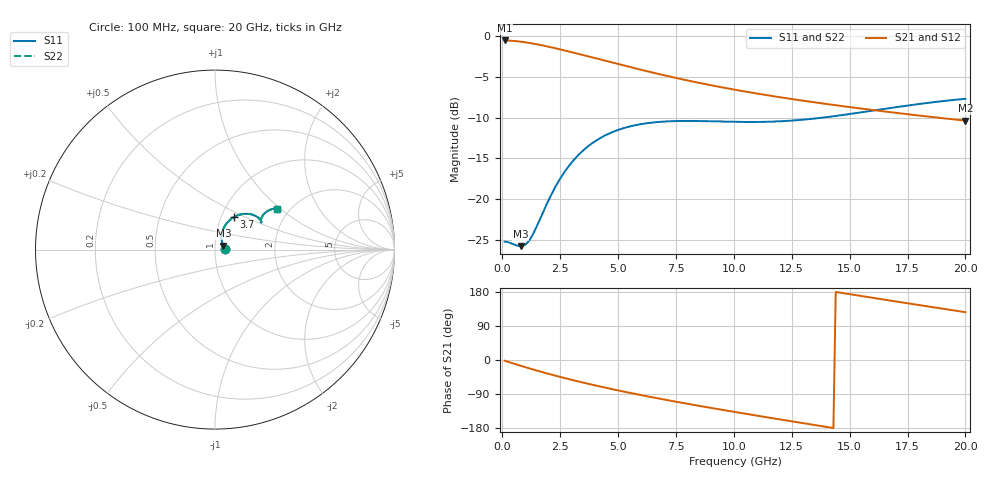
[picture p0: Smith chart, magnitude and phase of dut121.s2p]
! Created with skrf 1.9.0 (http://scikit-rf.org).
# GHz S RI R 50.0
!freq ReS11 ImS11 ReS21 ImS21 ReS12 ImS12 ReS22 ImS22
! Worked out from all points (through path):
!   200 points, 100 MHz to 20 GHz, reference 50 ohm
!   highest |S21| = -0.49 dB at 100 MHz (marker M1); lowest = -10.3 dB at 20 GHz (marker M2)
!   group delay of S21, straight-line fit = 30.8 ps
!   lowest |S11| = -25.8 dB at 800 MHz (marker M3), VSWR 1.11, Z = 54.8 + j2.39 ohm
!   |S11| at or under -10 dB: start of sweep to 13.78 GHz
!   |S22| runs from -25.8 to -7.7 dB; largest |S21 - S12| = 2.2e-15
!   S11 on the Smith chart (normalised r, x): 100 MHz: 1.12, +0.00; 3.7 GHz: 1.15, +0.44; 20 GHz: 1.72, +0.95
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0.1  0.0547 0.00106  0.9443 -0.031  0.9443 -0.031  0.0547 0.00106
0.4  0.0526 0.00889  0.9321 -0.1266  0.9321 -0.1266  0.0526 0.00889
0.8  0.0465 0.0218  0.8956 -0.2457  0.8956 -0.2457  0.0465 0.0218
1  0.043 0.0303  0.87 -0.3004  0.87 -0.3004  0.043 0.0303
1.3  0.0387 0.0457  0.8242 -0.3755  0.8242 -0.3755  0.0387 0.0457
1.7  0.0366 0.0704  0.7529 -0.4613  0.7529 -0.4613  0.0366 0.0704
2.1  0.0404 0.0974  0.6744 -0.531  0.6744 -0.531  0.0404 0.0974
2.8  0.0616 0.1419  0.5296 -0.6169  0.5296 -0.6169  0.0616 0.1419
3.5  0.0958 0.1751  0.3862 -0.6634  0.3862 -0.6634  0.0958 0.1751
3.7  0.1068 0.1819  0.3466 -0.6706  0.3466 -0.6706  0.1068 0.1819
4.3  0.1401 0.1953  0.2335 -0.6787  0.2335 -0.6787  0.1401 0.1953
5  0.176 0.1996  0.1143 -0.6669  0.1143 -0.6669  0.176 0.1996
5.9  0.2129 0.1932  -0.0167 -0.6282  -0.0167 -0.6282  0.2129 0.1932
6.8  0.2376 0.1806  -0.1233 -0.5723  -0.1233 -0.5723  0.2376 0.1806
8.4  0.2568 0.159  -0.2602 -0.4521  -0.2602 -0.4521  0.2568 0.159
10.1  0.2579 0.15  -0.3468 -0.3153  -0.3468 -0.3153  0.2579 0.15
11.7  0.2552 0.1567  -0.3854 -0.1888  -0.3854 -0.1888  0.2552 0.1567
13.4  0.2582 0.1748  -0.3898 -0.0637  -0.3898 -0.0637  0.2582 0.1748
15  0.2701 0.1954  -0.3656 0.0405  -0.3656 0.0405  0.2701 0.1954
16.7  0.2917 0.2144  -0.3165 0.1323  -0.3165 0.1323  0.2917 0.2144
18.3  0.3172 0.2255  -0.2546 0.1981  -0.2546 0.1981  0.3172 0.2255
20  0.3447 0.2289  -0.1792 0.2452  -0.1792 0.2452  0.3447 0.2289
